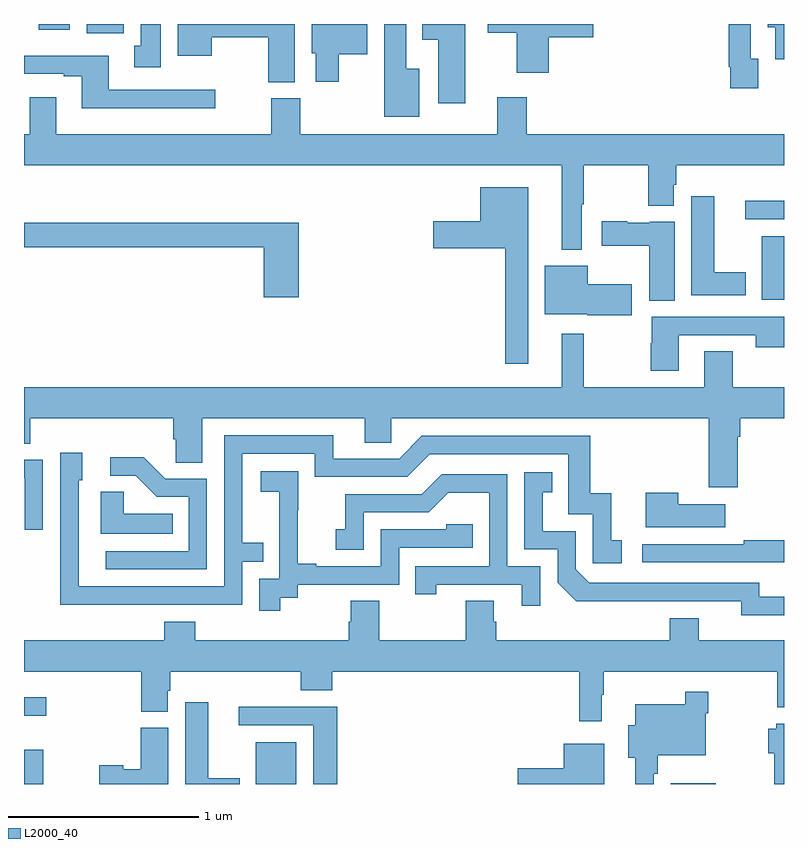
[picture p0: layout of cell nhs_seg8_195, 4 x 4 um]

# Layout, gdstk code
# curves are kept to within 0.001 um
import gdstk
lib = gdstk.Library(unit=1e-6, precision=1e-09)
def R(c, l, rs):  # rectangles x0, y0, x1, y1
    for r in rs: c.add(gdstk.rectangle(r[:2], r[2:], *l))
def P(c, l, *ps):  # polygons
    for p in ps: c.add(gdstk.Polygon(p, *l))
L2000_40 = (2000, 40)

nhs_seg8_195 = lib.new_cell('nhs_seg8_195')
R(nhs_seg8_195, L2000_40, [(123,1123.9,123.1,1124.08), (124.22,1123.9,124.432,1124.119), (126.404,1123.9,126.64,1123.903), (123,1124.259,123.118,1124.356), (126.884,1126.448,127,1126.783), (126.795,1126.872,127,1126.97), (123.329,1127.852,123.526,1127.9), (123.077,1127.87,123.241,1127.9)])
P(nhs_seg8_195, L2000_40, [(124.657,1127.741),(124.807,1127.741),(124.807,1127.9),(124.514,1127.9),(124.514,1127.745),(124.535,1127.745),(124.535,1127.595),(124.657,1127.595)],
  [(126.865,1127.718),(126.825,1127.718),(126.825,1127.9),(126.709,1127.9),(126.709,1127.674),(126.717,1127.674),(126.717,1127.562),(126.865,1127.562)],
  [(124.426,1127.9),(123.809,1127.9),(123.809,1127.732),(123.988,1127.732),(123.988,1127.831),(124.285,1127.831),(124.285,1127.593),(124.426,1127.593)],
  [(125.08,1127.665),(125.011,1127.665),(125.011,1127.9),(124.895,1127.9),(124.895,1127.411),(125.08,1127.411)],
  [(127,1127.9),(126.914,1127.9),(126.914,1127.882),(126.953,1127.882),(126.953,1127.714),(127,1127.714)],
  [(125.762,1127.831),(125.995,1127.831),(125.995,1127.9),(125.442,1127.9),(125.442,1127.854),(125.594,1127.854),(125.594,1127.643),(125.762,1127.643)],
  [(125.323,1127.9),(125.096,1127.9),(125.096,1127.816),(125.18,1127.816),(125.18,1127.484),(125.323,1127.484)],
  [(123.721,1127.9),(123.614,1127.9),(123.614,1127.786),(123.581,1127.786),(123.581,1127.673),(123.721,1127.673)],
  [(124.006,1127.553),(123.445,1127.553),(123.445,1127.734),(123,1127.734),(123,1127.637),(123.209,1127.637),(123.209,1127.625),(123.305,1127.625),(123.305,1127.456),(124.006,1127.456)],
  [(125.935,1126.951),(125.945,1126.951),(125.945,1127.156),(126.286,1127.156),(126.286,1126.943),(126.421,1126.943),(126.421,1127.055),(126.434,1127.055),(126.434,1127.156),(127,1127.156),(127,1127.32),(125.645,1127.32),(125.645,1127.515),(125.492,1127.515),(125.492,1127.32),(124.455,1127.32),(124.455,1127.508),(124.3,1127.508),(124.3,1127.32),(123.169,1127.32),(123.169,1127.515),(123.029,1127.515),(123.029,1127.32),(123,1127.32),(123,1127.156),(125.831,1127.156),(125.831,1126.712),(125.935,1126.712)],
  [(125.653,1127.041),(125.402,1127.041),(125.402,1126.863),(125.154,1126.863),(125.154,1126.721),(125.532,1126.721),(125.532,1126.113),(125.653,1126.113)],
  [(126.799,1126.594),(126.634,1126.594),(126.634,1126.993),(126.512,1126.993),(126.512,1126.472),(126.799,1126.472)],
  [(126.424,1126.858),(126.294,1126.858),(126.294,1126.855),(126.174,1126.855),(126.174,1126.863),(126.042,1126.863),(126.042,1126.733),(126.29,1126.733),(126.29,1126.444),(126.424,1126.444)],
  [(124.445,1126.855),(123,1126.855),(123,1126.726),(124.262,1126.726),(124.262,1126.461),(124.445,1126.461)],
  [(126.199,1126.531),(125.968,1126.531),(125.968,1126.627),(125.741,1126.627),(125.741,1126.373),(125.964,1126.373),(125.964,1126.366),(126.199,1126.366)],
  [(126.445,1126.263),(126.85,1126.263),(126.85,1126.2),(127,1126.2),(127,1126.359),(126.305,1126.359),(126.305,1126.221),(126.298,1126.221),(126.298,1126.074),(126.445,1126.074)],
  [(126.757,1125.728),(126.77,1125.728),(126.77,1125.824),(127,1125.824),(127,1125.988),(126.729,1125.988),(126.729,1126.178),(126.581,1126.178),(126.581,1125.988),(125.945,1125.988),(125.945,1126.27),(125.831,1126.27),(125.831,1125.988),(123,1125.988),(123,1125.691),(123.032,1125.691),(123.032,1125.824),(123.785,1125.824),(123.785,1125.715),(123.798,1125.715),(123.798,1125.592),(123.937,1125.592),(123.937,1125.824),(124.793,1125.824),(124.793,1125.697),(124.932,1125.697),(124.932,1125.824),(126.605,1125.824),(126.605,1125.462),(126.757,1125.462)],
  [(123.653,1124.844),(124.149,1124.844),(124.149,1125.069),(124.259,1125.069),(124.259,1125.17),(124.149,1125.17),(124.149,1125.639),(124.53,1125.639),(124.53,1125.516),(125.016,1125.516),(125.136,1125.636),(125.865,1125.636),(125.865,1125.321),(125.994,1125.321),(125.994,1125.063),(126.145,1125.063),(126.145,1125.183),(126.092,1125.183),(126.092,1125.43),(125.981,1125.43),(125.981,1125.732),(125.094,1125.732),(124.974,1125.612),(124.627,1125.612),(124.627,1125.735),(124.053,1125.735),(124.053,1124.94),(123.288,1124.94),(123.288,1125.498),(123.307,1125.498),(123.307,1125.643),(123.192,1125.643),(123.192,1125.149),(123.19,1125.149),(123.19,1124.843)],
  [(123.963,1125.507),(123.744,1125.507),(123.631,1125.62),(123.453,1125.62),(123.453,1125.522),(123.587,1125.522),(123.698,1125.411),(123.867,1125.411),(123.867,1125.126),(123.429,1125.126),(123.429,1125.03),(123.963,1125.03)],
  [(123.099,1125.606),(123,1125.606),(123,1125.51),(123.003,1125.51),(123.003,1125.237),(123.099,1125.237)],
  [(124.348,1124.881),(124.44,1124.881),(124.44,1124.949),(124.974,1124.949),(124.974,1125.144),(125.363,1125.144),(125.363,1125.267),(125.223,1125.267),(125.223,1125.24),(124.878,1125.24),(124.878,1125.045),(124.537,1125.045),(124.537,1125.058),(124.442,1125.058),(124.442,1125.341),(124.443,1125.341),(124.443,1125.547),(124.245,1125.547),(124.245,1125.437),(124.343,1125.437),(124.343,1125.209),(124.344,1125.209),(124.344,1124.979),(124.239,1124.979),(124.239,1124.811),(124.348,1124.811)],
  [(127,1124.886),(126.87,1124.886),(126.87,1124.958),(125.976,1124.958),(125.904,1125.03),(125.904,1125.231),(125.731,1125.231),(125.731,1125.435),(125.78,1125.435),(125.78,1125.541),(125.634,1125.541),(125.634,1125.135),(125.808,1125.135),(125.808,1124.958),(125.906,1124.861),(126.774,1124.862),(126.774,1124.789),(127,1124.789)],
  [(125.718,1125.045),(125.544,1125.045),(125.544,1125.531),(125.198,1125.531),(125.093,1125.426),(124.69,1125.426),(124.69,1125.241),(124.641,1125.241),(124.641,1125.132),(124.788,1125.132),(124.788,1125.33),(125.13,1125.33),(125.234,1125.434),(125.448,1125.434),(125.448,1125.045),(125.059,1125.045),(125.059,1124.898),(125.17,1124.898),(125.17,1124.949),(125.621,1124.949),(125.621,1124.838),(125.718,1124.838)],
  [(123.782,1125.322),(123.525,1125.322),(123.525,1125.437),(123.404,1125.437),(123.404,1125.218),(123.782,1125.218)],
  [(126.691,1125.373),(126.443,1125.373),(126.443,1125.433),(126.272,1125.433),(126.272,1125.251),(126.691,1125.251)],
  [(127,1125.182),(126.787,1125.182),(126.787,1125.162),(126.255,1125.162),(126.255,1125.066),(127,1125.066)],
  [(126.04,1124.369),(126.052,1124.369),(126.052,1124.492),(126.964,1124.492),(126.964,1124.303),(127,1124.303),(127,1124.656),(126.55,1124.656),(126.55,1124.773),(126.398,1124.773),(126.398,1124.656),(125.486,1124.656),(125.486,1124.754),(125.473,1124.754),(125.473,1124.864),(125.326,1124.864),(125.326,1124.656),(124.869,1124.656),(124.869,1124.864),(124.721,1124.864),(124.721,1124.754),(124.709,1124.754),(124.709,1124.656),(123.902,1124.656),(123.902,1124.755),(123.737,1124.755),(123.737,1124.656),(123,1124.656),(123,1124.492),(123.617,1124.492),(123.617,1124.281),(123.757,1124.281),(123.757,1124.391),(123.77,1124.391),(123.77,1124.492),(124.457,1124.492),(124.457,1124.393),(124.622,1124.393),(124.622,1124.492),(125.923,1124.492),(125.923,1124.229),(126.04,1124.229)],
  [(126.315,1123.955),(126.335,1123.955),(126.335,1124.051),(126.588,1124.051),(126.588,1124.273),(126.601,1124.273),(126.601,1124.386),(126.48,1124.386),(126.48,1124.32),(126.218,1124.32),(126.218,1124.209),(126.179,1124.209),(126.179,1124.039),(126.218,1124.039),(126.218,1123.9),(126.315,1123.9)],
  [(124.135,1123.93),(123.97,1123.93),(123.97,1124.329),(123.848,1124.329),(123.848,1123.9),(124.135,1123.9)],
  [(124.649,1124.306),(124.131,1124.306),(124.131,1124.208),(124.523,1124.208),(124.523,1123.9),(124.649,1123.9)],
  [(127,1124.218),(126.96,1124.218),(126.96,1124.191),(126.917,1124.191),(126.917,1124.062),(126.949,1124.062),(126.949,1123.9),(127,1123.9)],
  [(123.76,1124.196),(123.614,1124.196),(123.614,1123.977),(123.522,1123.977),(123.522,1124),(123.397,1124),(123.397,1123.9),(123.76,1123.9)],
  [(126.055,1124.113),(125.84,1124.113),(125.84,1123.982),(125.598,1123.982),(125.598,1123.9),(126.055,1123.9)])

lib.write_gds('nhs_seg8_195.gds')
